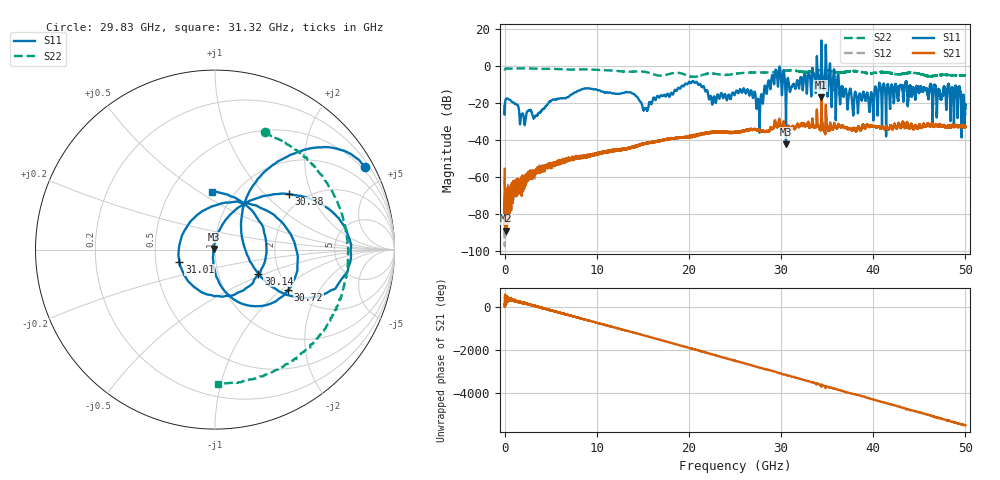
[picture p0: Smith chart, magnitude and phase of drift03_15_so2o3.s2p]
!Created with skrf (http://scikit-rf.org).
# Hz S RI R 50.0
!freq ReS11 ImS11 ReS21 ImS21 ReS12 ImS12 ReS22 ImS22
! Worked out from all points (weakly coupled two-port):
!   10001 points, 300 kHz to 50 GHz, reference 50 ohm
!   highest |S21| = -16.87 dB at 34.37 GHz (marker M1); lowest = -88.9 dB at 100.3 MHz (marker M2)
!   lowest |S11| = -42.3 dB at 30.53 GHz (marker M3), VSWR 1.02, Z = 49.3 + j0.394 ohm
!   |S11| at or under -10 dB: start of sweep to 19.56 GHz; 21.25 GHz to 28.55 GHz (7.295 GHz wide, 29.3 % of centre); 36.28 GHz to 40.63 GHz (4.348 GHz wide, 11.3 % of centre) (the widest 3 of 41)
!   |S22| runs from -6.0 to -1.3 dB; largest |S21 - S12| = 0.026
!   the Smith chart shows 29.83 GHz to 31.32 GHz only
!   S11 on the Smith chart (normalised r, x): 29.83 GHz: 0.37, +3.84; 30.14 GHz: 1.56, -0.45; 30.38 GHz: 1.67, +1.40; 30.72 GHz: 1.96, -1.12; 31.01 GHz: 0.66, -0.09; 31.32 GHz: 0.78, +0.56
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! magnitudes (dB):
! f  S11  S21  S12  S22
! 300 kHz  -21.6  -55.5  -61.3  -2.0
! 100.3 MHz  -18.3  -88.9  -73.7  -1.5
! 3.305 GHz  -27.3  -58.3  -57.1  -1.5
! 8.335 GHz  -12.6  -49.2  -48.8  -1.9
! 15.29 GHz  -22.8  -41.7  -41.6  -3.3
! 16.67 GHz  -16.5  -40.6  -40.5  -5.2
! 20.26 GHz  -9.2  -38.0  -37.9  -5.9
! 22.71 GHz  -16.5  -35.6  -35.6  -4.2
! 25 GHz  -15.3  -35.8  -35.9  -4.3
! 27.53 GHz  -17.8  -34.7  -34.5  -3.5
! 29.83 GHz  -0.4  -29.4  -28.6  -3.0
! 30.14 GHz  -11.2  -33.2  -33.4  -2.8
! 30.38 GHz  -5.8  -32.4  -32.6  -2.6
! 30.53 GHz  -42.3  -33.9  -34.3  -2.6
! 30.72 GHz  -6.6  -32.8  -32.7  -2.4
! 31.01 GHz  -13.5  -34.4  -34.1  -2.5
! 31.32 GHz  -9.8  -32.4  -32.5  -2.5
! 33.34 GHz  -7.5  -31.2  -31.5  -2.9
! 34.37 GHz  13.7  -16.9  -18.0  -2.3
! 37.84 GHz  -26.7  -34.0  -34.3  -2.8
! 41.67 GHz  -11.7  -34.4  -34.2  -3.7
! 50 GHz  -21.2  -32.8  -32.9  -5.0
